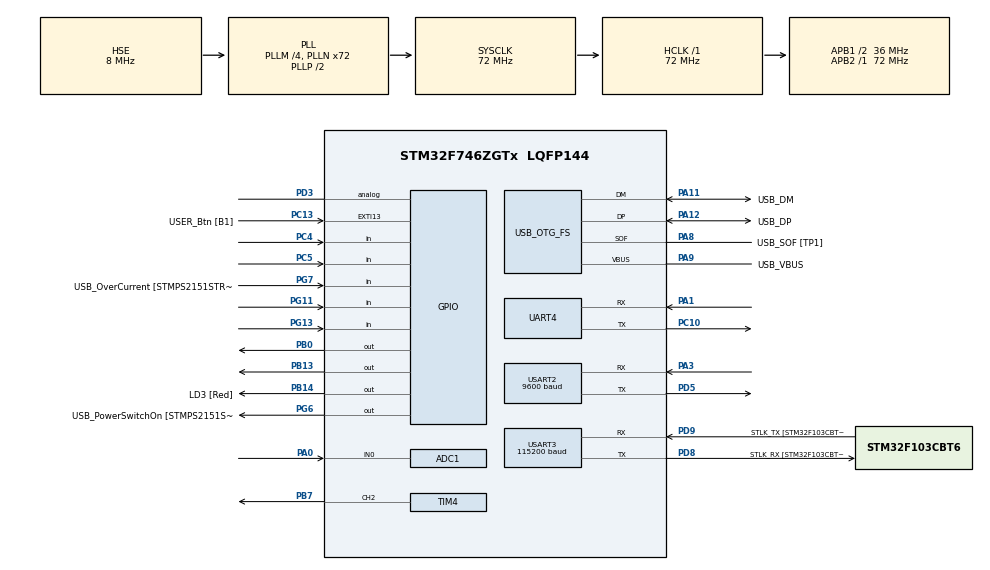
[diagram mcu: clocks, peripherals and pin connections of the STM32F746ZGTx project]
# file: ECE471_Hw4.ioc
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ADC1.Channel-1\#ChannelRegularConversion=ADC_CHANNEL_0
ADC1.NbrOfConversionFlag=1
ADC1.Rank-1\#ChannelRegularConversion=1
ADC1.SamplingTime-1\#ChannelRegularConversion=ADC_SAMPLETIME_3CYCLES
ADC1.master=1
Dma.ADC1.0.Direction=DMA_PERIPH_TO_MEMORY
Dma.ADC1.0.FIFOMode=DMA_FIFOMODE_DISABLE
Dma.ADC1.0.Instance=DMA2_Stream0
Dma.ADC1.0.MemDataAlignment=DMA_MDATAALIGN_HALFWORD
Dma.ADC1.0.MemInc=DMA_MINC_ENABLE
Dma.ADC1.0.Mode=DMA_NORMAL
Dma.ADC1.0.PeriphDataAlignment=DMA_PDATAALIGN_HALFWORD
Dma.ADC1.0.PeriphInc=DMA_PINC_DISABLE
Dma.ADC1.0.Priority=DMA_PRIORITY_LOW
Dma.Request0=ADC1
Mcu.Family=STM32F7
Mcu.Name=STM32F746ZGTx
Mcu.Package=LQFP144
NVIC.ADC_IRQn=true\:0\:0\:false\:false\:true\:true\:true\:true
NVIC.DMA2_Stream0_IRQn=true\:0\:0\:false\:false\:true\:false\:true\:true
NVIC.EXTI15_10_IRQn=true\:0\:0\:false\:false\:true\:true\:true\:true
NVIC.PriorityGroup=NVIC_PRIORITYGROUP_4
NVIC.TIM2_IRQn=true\:0\:0\:false\:false\:true\:true\:true\:true
NVIC.TIM4_IRQn=true\:0\:0\:false\:false\:true\:true\:true\:true
PA0/WKUP.Signal=ADCx_IN0
PA1.Mode=Asynchronous
PA1.Signal=UART4_RX
PA11.GPIO_Label=USB_DM
PA11.Mode=Device_Only
PA11.Signal=USB_OTG_FS_DM
PA12.GPIO_Label=USB_DP
PA12.Mode=Device_Only
PA12.Signal=USB_OTG_FS_DP
PA13.GPIO_Label=TMS
PA13.Mode=Serial_Wire
PA13.Signal=SYS_JTMS-SWDIO
PA14.GPIO_Label=TCK
PA14.Mode=Serial_Wire
PA14.Signal=SYS_JTCK-SWCLK
PA3.Mode=Asynchronous
PA3.Signal=USART2_RX
PA8.GPIO_Label=USB_SOF [TP1]
PA8.Mode=Activate_SOF_FS
PA8.Signal=USB_OTG_FS_SOF
PA9.GPIO_Label=USB_VBUS
PA9.Mode=Activate_VBUS
PA9.Signal=USB_OTG_FS_VBUS
PB0.Signal=GPIO_Output
PB13.Signal=GPIO_Output
PB14.GPIO_Label=LD3 [Red]
PB14.Signal=GPIO_Output
PB7.Signal=S_TIM4_CH2
PC1.GPIO_Label=RMII_MDC [LAN8742A-CZ-TR_MDC]
PC1.Signal=ETH_MDC
PC10.Mode=Asynchronous
PC10.Signal=UART4_TX
PC13.GPIO_Label=USER_Btn [B1]
PC13.Signal=GPXTI13
PC14/OSC32_IN.Mode=LSE-External-Oscillator
PC14/OSC32_IN.Signal=RCC_OSC32_IN
PC15/OSC32_OUT.Mode=LSE-External-Oscillator
PC15/OSC32_OUT.Signal=RCC_OSC32_OUT
PC4.Signal=GPIO_Input
PC5.Signal=GPIO_Input
PD3.Signal=GPIO_Analog
PD5.Mode=Asynchronous
PD5.Signal=USART2_TX
PD8.GPIO_Label=STLK_RX [STM32F103CBT6_PA3]
PD8.GPIO_PuPd=GPIO_PULLUP
PD8.Mode=Asynchronous
PD8.Signal=USART3_TX
PD9.GPIO_Label=STLK_TX [STM32F103CBT6_PA2]
PD9.GPIO_PuPd=GPIO_PULLUP
PD9.Mode=Asynchronous
PD9.Signal=USART3_RX
PG11.Signal=GPIO_Input
PG13.Signal=GPIO_Input
PG6.GPIO_Label=USB_PowerSwitchOn [STMPS2151STR_EN]
PG6.Signal=GPIO_Output
PG7.GPIO_Label=USB_OverCurrent [STMPS2151STR_FAULT]
PG7.Signal=GPIO_Input
PH0/OSC_IN.GPIO_Label=MCO [STM32F103CBT6_PA8]
PH0/OSC_IN.Mode=HSE-External-Clock-Source
PH0/OSC_IN.Signal=RCC_OSC_IN
PH1/OSC_OUT.Mode=HSE-External-Clock-Source
PH1/OSC_OUT.Signal=RCC_OSC_OUT
ProjectManager.HeapSize=0x200
ProjectManager.StackSize=0x400
ProjectManager.TargetToolchain=STM32CubeIDE
RCC.48MHZClocksFreq_Value=24000000
RCC.AHBFreq_Value=72000000
RCC.APB1CLKDivider=RCC_HCLK_DIV2
RCC.APB1Freq_Value=36000000
RCC.APB1TimFreq_Value=72000000
RCC.APB2Freq_Value=72000000
RCC.APB2TimFreq_Value=72000000
RCC.CortexFreq_Value=72000000
RCC.HCLKFreq_Value=72000000
RCC.HSE_VALUE=8000000
RCC.HSI_VALUE=16000000
RCC.PLLM=4
RCC.PLLMUL=RCC_PLL_MUL9
RCC.PLLN=72
RCC.PLLQ=3
RCC.PRESCALERUSB=RCC_USBCLKSOURCE_PLL_DIV1_5
RCC.SYSCLKFreq_VALUE=72000000
RCC.SYSCLKSource=RCC_SYSCLKSOURCE_PLLCLK
RCC.SYSCLKSourceVirtual=RCC_SYSCLKSOURCE_PLLCLK
RCC.USBFreq_Value=48000000
RCC.VCOOutputFreq_Value=144000000
SH.ADCx_IN0.0=ADC1_IN0,IN0
SH.S_TIM4_CH2.0=TIM4_CH2,PWM Generation2 CH2
TIM2.Channel-PWM\ Generation1\ CH1=TIM_CHANNEL_1
TIM2.Period=100-1
TIM2.Prescaler=72-1
TIM4.Channel-PWM\ Generation2\ CH2=TIM_CHANNEL_2
TIM4.Period=100
TIM4.Prescaler=71
TIM4.Pulse-PWM\ Generation2\ CH2=0
USART2.BaudRate=9600
USART2.VirtualMode-Asynchronous=VM_ASYNC
USART3.BaudRate=115200
USART3.VirtualMode-Asynchronous=VM_ASYNC
USB_OTG_FS.VirtualMode=Device_Only
VP_TIM2_VS_ClockSourceINT.Mode=Internal
VP_TIM4_VS_ClockSourceINT.Mode=Internal
board=NUCLEO-F746ZG

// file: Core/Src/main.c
/* USER CODE BEGIN Header */
/**
  ******************************************************************************
  * @file           : main.c
  * @brief          : Main program body
  ******************************************************************************
  * @attention
  *
  * Copyright (c) 2023 STMicroelectronics.
  * All rights reserved.
  *
  * This software is licensed under terms that can be found in the LICENSE file
  * in the root directory of this software component.
  * If no LICENSE file comes with this software, it is provided AS-IS.
  *
  ******************************************************************************
  */
/* USER CODE END Header */
#include "main.h"

/* USER CODE BEGIN Includes */
#include <string.h>
#include <stdio.h>
/* USER CODE END Includes */

ADC_HandleTypeDef hadc1;
DMA_HandleTypeDef hdma_adc1;

TIM_HandleTypeDef htim2;
TIM_HandleTypeDef htim4;

UART_HandleTypeDef huart4;
UART_HandleTypeDef huart2;
UART_HandleTypeDef huart3;

PCD_HandleTypeDef hpcd_USB_OTG_FS;

void SystemClock_Config(void);
static void MX_GPIO_Init(void);
static void MX_DMA_Init(void);
static void MX_USB_OTG_FS_PCD_Init(void);
static void MX_TIM2_Init(void);
static void MX_TIM4_Init(void);
static void MX_ADC1_Init(void);
static void MX_USART2_UART_Init(void);
static void MX_USART3_UART_Init(void);
static void MX_UART4_Init(void);
/* USER CODE BEGIN PFP */
#define UART_TIMEOUT_MS 1000
/* USER CODE END PFP */

int main(void)
{

  /* MCU Configuration--------------------------------------------------------*/

  /* Reset of all peripherals, Initializes the Flash interface and the Systick. */
  HAL_Init();

  /* Configure the system clock */
  SystemClock_Config();

  /* Initialize all configured peripherals */
  MX_GPIO_Init();
  MX_DMA_Init();
  MX_USB_OTG_FS_PCD_Init();
  MX_TIM2_Init();
  MX_TIM4_Init();
  MX_ADC1_Init();
  MX_USART2_UART_Init();
  MX_USART3_UART_Init();
  MX_UART4_Init();
  /* USER CODE BEGIN 2 */
  HAL_TIM_PWM_Start(&htim4, TIM_CHANNEL_2);

  uint32_t timeOut = 0;
  /* USER CODE END 2 */

  /* Infinite loop */
  while (1)
  {

    /* USER CODE BEGIN 3 */
	  HAL_ADC_Start(&hadc1);
	  // Wait for the ADC conversion to complete (blocking)
	  HAL_ADC_PollForConversion(&hadc1, HAL_MAX_DELAY);

	  // Read the raw ADC value
	  uint16_t raw = HAL_ADC_GetValue(&hadc1);
	  uint8_t transmit = 255*raw/4095 ;

	  //sprintf(transmit, Voltage: %.2f V\r\n", voltage);
	  HAL_UART_Transmit(&huart2, (uint8_t*)&transmit, 1, 10);

	  HAL_StatusTypeDef status = HAL_UART_Receive(&huart2, (uint8_t*)&transmit, 1, 10); // Non-blocking receive with a 100ms timeout

	  // Delay for a brief moment (1 ms in this case)
	  HAL_Delay(10);

	  //if you have recieved data
	  if (status == HAL_OK) {

		  HAL_GPIO_WritePin(GPIOB, GPIO_PIN_0, GPIO_PIN_SET);
		  HAL_GPIO_WritePin(GPIOB, GPIO_PIN_14, GPIO_PIN_RESET);

		  // Data received successfully
		  uint8_t receivedValue = (100*transmit)/255; // Assuming you only expect one byte of data
		  TIM4->CCR2 = receivedValue;
		  timeOut=100;
	 	  	              // Exit the timeout loop
	 }
	 //if you havent revieved anything for 1000 ms turn off the LED
	 else{

		  if(timeOut>0){
			  timeOut--;
		  }
		  else{
			  TIM4->CCR2 = 0;
			  HAL_GPIO_WritePin(GPIOB, GPIO_PIN_14, GPIO_PIN_SET);
			  HAL_GPIO_WritePin(GPIOB, GPIO_PIN_0, GPIO_PIN_RESET);

		  }
	  }

  }
  /* USER CODE END 3 */
}

void SystemClock_Config(void)
{
  RCC_OscInitTypeDef RCC_OscInitStruct = {0};
  RCC_ClkInitTypeDef RCC_ClkInitStruct = {0};

  /** Configure LSE Drive Capability
  */
  HAL_PWR_EnableBkUpAccess();

  /** Configure the main internal regulator output voltage
  */
  __HAL_RCC_PWR_CLK_ENABLE();
  __HAL_PWR_VOLTAGESCALING_CONFIG(PWR_REGULATOR_VOLTAGE_SCALE3);

  /** Initializes the RCC Oscillators according to the specified parameters
  * in the RCC_OscInitTypeDef structure.
  */
  RCC_OscInitStruct.OscillatorType = RCC_OSCILLATORTYPE_HSE;
  RCC_OscInitStruct.HSEState = RCC_HSE_BYPASS;
  RCC_OscInitStruct.PLL.PLLState = RCC_PLL_ON;
  RCC_OscInitStruct.PLL.PLLSource = RCC_PLLSOURCE_HSE;
  RCC_OscInitStruct.PLL.PLLM = 4;
  RCC_OscInitStruct.PLL.PLLN = 72;
  RCC_OscInitStruct.PLL.PLLP = RCC_PLLP_DIV2;
  RCC_OscInitStruct.PLL.PLLQ = 3;
  if (HAL_RCC_OscConfig(&RCC_OscInitStruct) != HAL_OK)
  {
    Error_Handler();
  }

  /** Initializes the CPU, AHB and APB buses clocks
  */
  RCC_ClkInitStruct.ClockType = RCC_CLOCKTYPE_HCLK|RCC_CLOCKTYPE_SYSCLK
                              |RCC_CLOCKTYPE_PCLK1|RCC_CLOCKTYPE_PCLK2;
  RCC_ClkInitStruct.SYSCLKSource = RCC_SYSCLKSOURCE_PLLCLK;
  RCC_ClkInitStruct.AHBCLKDivider = RCC_SYSCLK_DIV1;
  RCC_ClkInitStruct.APB1CLKDivider = RCC_HCLK_DIV2;
  RCC_ClkInitStruct.APB2CLKDivider = RCC_HCLK_DIV1;

  if (HAL_RCC_ClockConfig(&RCC_ClkInitStruct, FLASH_LATENCY_2) != HAL_OK)
  {
    Error_Handler();
  }
}

static void MX_ADC1_Init(void)
{

  ADC_ChannelConfTypeDef sConfig = {0};

  /** Configure the global features of the ADC (Clock, Resolution, Data Alignment and number of conversion)
  */
  hadc1.Instance = ADC1;
  hadc1.Init.ClockPrescaler = ADC_CLOCK_SYNC_PCLK_DIV2;
  hadc1.Init.Resolution = ADC_RESOLUTION_12B;
  hadc1.Init.ScanConvMode = ADC_SCAN_DISABLE;
  hadc1.Init.ContinuousConvMode = DISABLE;
  hadc1.Init.DiscontinuousConvMode = DISABLE;
  hadc1.Init.ExternalTrigConvEdge = ADC_EXTERNALTRIGCONVEDGE_NONE;
  hadc1.Init.ExternalTrigConv = ADC_SOFTWARE_START;
  hadc1.Init.DataAlign = ADC_DATAALIGN_RIGHT;
  hadc1.Init.NbrOfConversion = 1;
  hadc1.Init.DMAContinuousRequests = DISABLE;
  hadc1.Init.EOCSelection = ADC_EOC_SINGLE_CONV;
  if (HAL_ADC_Init(&hadc1) != HAL_OK)
  {
    Error_Handler();
  }

  /** Configure for the selected ADC regular channel its corresponding rank in the sequencer and its sample time.
  */
  sConfig.Channel = ADC_CHANNEL_0;
  sConfig.Rank = ADC_REGULAR_RANK_1;
  sConfig.SamplingTime = ADC_SAMPLETIME_3CYCLES;
  if (HAL_ADC_ConfigChannel(&hadc1, &sConfig) != HAL_OK)
  {
    Error_Handler();
  }

}

static void MX_TIM2_Init(void)
{

  TIM_ClockConfigTypeDef sClockSourceConfig = {0};
  TIM_MasterConfigTypeDef sMasterConfig = {0};

  htim2.Instance = TIM2;
  htim2.Init.Prescaler = 72-1;
  htim2.Init.CounterMode = TIM_COUNTERMODE_UP;
  htim2.Init.Period = 100-1;
  htim2.Init.ClockDivision = TIM_CLOCKDIVISION_DIV1;
  htim2.Init.AutoReloadPreload = TIM_AUTORELOAD_PRELOAD_DISABLE;
  if (HAL_TIM_Base_Init(&htim2) != HAL_OK)
  {
    Error_Handler();
  }
  sClockSourceConfig.ClockSource = TIM_CLOCKSOURCE_INTERNAL;
  if (HAL_TIM_ConfigClockSource(&htim2, &sClockSourceConfig) != HAL_OK)
  {
    Error_Handler();
  }
  sMasterConfig.MasterOutputTrigger = TIM_TRGO_RESET;
  sMasterConfig.MasterSlaveMode = TIM_MASTERSLAVEMODE_DISABLE;
  if (HAL_TIMEx_MasterConfigSynchronization(&htim2, &sMasterConfig) != HAL_OK)
  {
    Error_Handler();
  }

}

static void MX_TIM4_Init(void)
{

  TIM_ClockConfigTypeDef sClockSourceConfig = {0};
  TIM_MasterConfigTypeDef sMasterConfig = {0};
  TIM_OC_InitTypeDef sConfigOC = {0};

  htim4.Instance = TIM4;
  htim4.Init.Prescaler = 71;
  htim4.Init.CounterMode = TIM_COUNTERMODE_UP;
  htim4.Init.Period = 100;
  htim4.Init.ClockDivision = TIM_CLOCKDIVISION_DIV1;
  htim4.Init.AutoReloadPreload = TIM_AUTORELOAD_PRELOAD_DISABLE;
  if (HAL_TIM_Base_Init(&htim4) != HAL_OK)
  {
    Error_Handler();
  }
  sClockSourceConfig.ClockSource = TIM_CLOCKSOURCE_INTERNAL;
  if (HAL_TIM_ConfigClockSource(&htim4, &sClockSourceConfig) != HAL_OK)
  {
    Error_Handler();
  }
  if (HAL_TIM_PWM_Init(&htim4) != HAL_OK)
  {
    Error_Handler();
  }
  sMasterConfig.MasterOutputTrigger = TIM_TRGO_RESET;
  sMasterConfig.MasterSlaveMode = TIM_MASTERSLAVEMODE_DISABLE;
  if (HAL_TIMEx_MasterConfigSynchronization(&htim4, &sMasterConfig) != HAL_OK)
  {
    Error_Handler();
  }
  sConfigOC.OCMode = TIM_OCMODE_PWM1;
  sConfigOC.Pulse = 0;
  sConfigOC.OCPolarity = TIM_OCPOLARITY_HIGH;
  sConfigOC.OCFastMode = TIM_OCFAST_DISABLE;
  if (HAL_TIM_PWM_ConfigChannel(&htim4, &sConfigOC, TIM_CHANNEL_2) != HAL_OK)
  {
    Error_Handler();
  }
  HAL_TIM_MspPostInit(&htim4);

}

static void MX_UART4_Init(void)
{

  huart4.Instance = UART4;
  huart4.Init.BaudRate = 115200;
  huart4.Init.WordLength = UART_WORDLENGTH_8B;
  huart4.Init.StopBits = UART_STOPBITS_1;
  huart4.Init.Parity = UART_PARITY_NONE;
  huart4.Init.Mode = UART_MODE_TX_RX;
  huart4.Init.HwFlowCtl = UART_HWCONTROL_NONE;
  huart4.Init.OverSampling = UART_OVERSAMPLING_16;
  huart4.Init.OneBitSampling = UART_ONE_BIT_SAMPLE_DISABLE;
  huart4.AdvancedInit.AdvFeatureInit = UART_ADVFEATURE_NO_INIT;
  if (HAL_UART_Init(&huart4) != HAL_OK)
  {
    Error_Handler();
  }

}

static void MX_USART2_UART_Init(void)
{

  huart2.Instance = USART2;
  huart2.Init.BaudRate = 9600;
  huart2.Init.WordLength = UART_WORDLENGTH_8B;
  huart2.Init.StopBits = UART_STOPBITS_1;
  huart2.Init.Parity = UART_PARITY_NONE;
  huart2.Init.Mode = UART_MODE_TX_RX;
  huart2.Init.HwFlowCtl = UART_HWCONTROL_NONE;
  huart2.Init.OverSampling = UART_OVERSAMPLING_16;
  huart2.Init.OneBitSampling = UART_ONE_BIT_SAMPLE_DISABLE;
  huart2.AdvancedInit.AdvFeatureInit = UART_ADVFEATURE_NO_INIT;
  if (HAL_UART_Init(&huart2) != HAL_OK)
  {
    Error_Handler();
  }

}

static void MX_USART3_UART_Init(void)
{

  huart3.Instance = USART3;
  huart3.Init.BaudRate = 115200;
  huart3.Init.WordLength = UART_WORDLENGTH_8B;
  huart3.Init.StopBits = UART_STOPBITS_1;
  huart3.Init.Parity = UART_PARITY_NONE;
  huart3.Init.Mode = UART_MODE_TX_RX;
  huart3.Init.HwFlowCtl = UART_HWCONTROL_NONE;
  huart3.Init.OverSampling = UART_OVERSAMPLING_16;
  huart3.Init.OneBitSampling = UART_ONE_BIT_SAMPLE_DISABLE;
  huart3.AdvancedInit.AdvFeatureInit = UART_ADVFEATURE_NO_INIT;
  if (HAL_UART_Init(&huart3) != HAL_OK)
  {
    Error_Handler();
  }

}

static void MX_USB_OTG_FS_PCD_Init(void)
{

  hpcd_USB_OTG_FS.Instance = USB_OTG_FS;
  hpcd_USB_OTG_FS.Init.dev_endpoints = 6;
  hpcd_USB_OTG_FS.Init.speed = PCD_SPEED_FULL;
  hpcd_USB_OTG_FS.Init.dma_enable = DISABLE;
  hpcd_USB_OTG_FS.Init.phy_itface = PCD_PHY_EMBEDDED;
  hpcd_USB_OTG_FS.Init.Sof_enable = ENABLE;
  hpcd_USB_OTG_FS.Init.low_power_enable = DISABLE;
  hpcd_USB_OTG_FS.Init.lpm_enable = DISABLE;
  hpcd_USB_OTG_FS.Init.vbus_sensing_enable = ENABLE;
  hpcd_USB_OTG_FS.Init.use_dedicated_ep1 = DISABLE;
  if (HAL_PCD_Init(&hpcd_USB_OTG_FS) != HAL_OK)
  {
    Error_Handler();
  }

}

static void MX_DMA_Init(void)
{

  /* DMA controller clock enable */
  __HAL_RCC_DMA2_CLK_ENABLE();

  /* DMA interrupt init */
  /* DMA2_Stream0_IRQn interrupt configuration */
  HAL_NVIC_SetPriority(DMA2_Stream0_IRQn, 0, 0);
  HAL_NVIC_EnableIRQ(DMA2_Stream0_IRQn);

}

static void MX_GPIO_Init(void)
{
  GPIO_InitTypeDef GPIO_InitStruct = {0};

  /* GPIO Ports Clock Enable */
  __HAL_RCC_GPIOC_CLK_ENABLE();
  __HAL_RCC_GPIOH_CLK_ENABLE();
  __HAL_RCC_GPIOA_CLK_ENABLE();
  __HAL_RCC_GPIOB_CLK_ENABLE();
  __HAL_RCC_GPIOD_CLK_ENABLE();
  __HAL_RCC_GPIOG_CLK_ENABLE();

  /*Configure GPIO pin Output Level */
  HAL_GPIO_WritePin(GPIOB, GPIO_PIN_0|GPIO_PIN_13|LD3_Pin, GPIO_PIN_RESET);

  /*Configure GPIO pin Output Level */
  HAL_GPIO_WritePin(USB_PowerSwitchOn_GPIO_Port, USB_PowerSwitchOn_Pin, GPIO_PIN_RESET);

  /*Configure GPIO pin : USER_Btn_Pin */
  GPIO_InitStruct.Pin = USER_Btn_Pin;
  GPIO_InitStruct.Mode = GPIO_MODE_IT_RISING;
  GPIO_InitStruct.Pull = GPIO_NOPULL;
  HAL_GPIO_Init(USER_Btn_GPIO_Port, &GPIO_InitStruct);

  /*Configure GPIO pin : RMII_MDC_Pin */
  GPIO_InitStruct.Pin = RMII_MDC_Pin;
  GPIO_InitStruct.Mode = GPIO_MODE_AF_PP;
  GPIO_InitStruct.Pull = GPIO_NOPULL;
  GPIO_InitStruct.Speed = GPIO_SPEED_FREQ_VERY_HIGH;
  GPIO_InitStruct.Alternate = GPIO_AF11_ETH;
  HAL_GPIO_Init(RMII_MDC_GPIO_Port, &GPIO_InitStruct);

  /*Configure GPIO pins : PC4 PC5 */
  GPIO_InitStruct.Pin = GPIO_PIN_4|GPIO_PIN_5;
  GPIO_InitStruct.Mode = GPIO_MODE_INPUT;
  GPIO_InitStruct.Pull = GPIO_NOPULL;
  HAL_GPIO_Init(GPIOC, &GPIO_InitStruct);

  /*Configure GPIO pins : PB0 PB13 LD3_Pin */
  GPIO_InitStruct.Pin = GPIO_PIN_0|GPIO_PIN_13|LD3_Pin;
  GPIO_InitStruct.Mode = GPIO_MODE_OUTPUT_PP;
  GPIO_InitStruct.Pull = GPIO_NOPULL;
  GPIO_InitStruct.Speed = GPIO_SPEED_FREQ_LOW;
  HAL_GPIO_Init(GPIOB, &GPIO_InitStruct);

  /*Configure GPIO pin : USB_PowerSwitchOn_Pin */
  GPIO_InitStruct.Pin = USB_PowerSwitchOn_Pin;
  GPIO_InitStruct.Mode = GPIO_MODE_OUTPUT_PP;
  GPIO_InitStruct.Pull = GPIO_NOPULL;
  GPIO_InitStruct.Speed = GPIO_SPEED_FREQ_LOW;
  HAL_GPIO_Init(USB_PowerSwitchOn_GPIO_Port, &GPIO_InitStruct);

  /*Configure GPIO pins : USB_OverCurrent_Pin PG11 PG13 */
  GPIO_InitStruct.Pin = USB_OverCurrent_Pin|GPIO_PIN_11|GPIO_PIN_13;
  GPIO_InitStruct.Mode = GPIO_MODE_INPUT;
  GPIO_InitStruct.Pull = GPIO_NOPULL;
  HAL_GPIO_Init(GPIOG, &GPIO_InitStruct);

  /*Configure GPIO pin : PD3 */
  GPIO_InitStruct.Pin = GPIO_PIN_3;
  GPIO_InitStruct.Mode = GPIO_MODE_ANALOG;
  GPIO_InitStruct.Pull = GPIO_NOPULL;
  HAL_GPIO_Init(GPIOD, &GPIO_InitStruct);

  /* EXTI interrupt init*/
  HAL_NVIC_SetPriority(EXTI15_10_IRQn, 0, 0);
  HAL_NVIC_EnableIRQ(EXTI15_10_IRQn);

}

void Error_Handler(void)
{
  __disable_irq();
  while (1)
  {
  }
}
